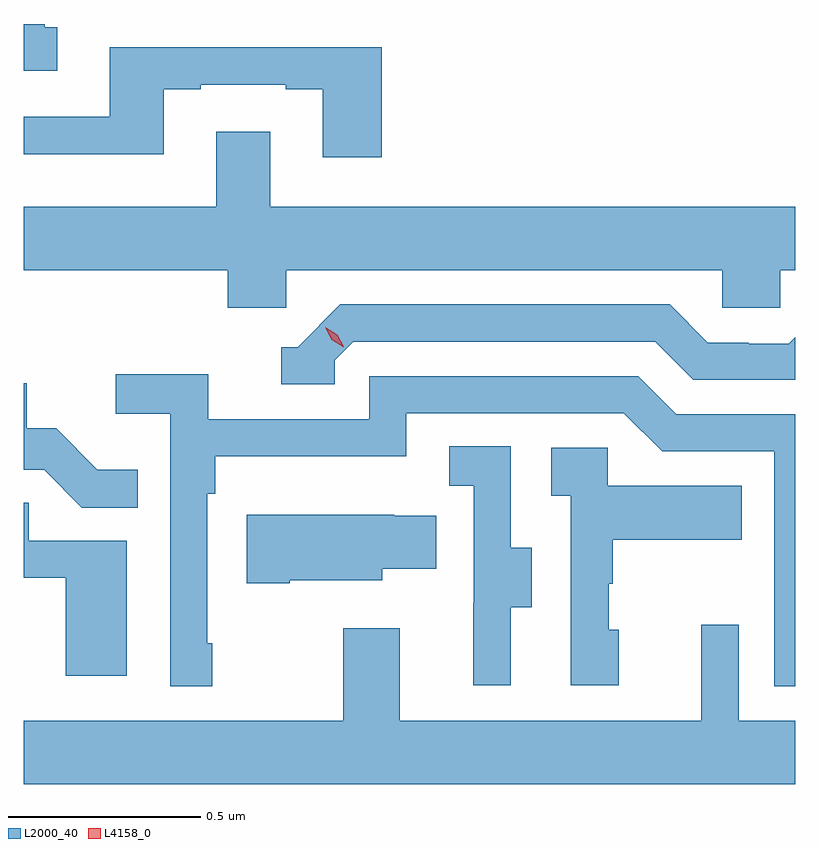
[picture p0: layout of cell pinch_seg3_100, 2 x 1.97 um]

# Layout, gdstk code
import gdstk
lib = gdstk.Library(unit=1e-6, precision=1e-09)
def P(c, l, *ps):  # polygons
    for p in ps: c.add(gdstk.Polygon(p, *l))
L2000_40 = (2000, 40)
L4158_0 = (4158, 0)

pinch_seg3_100 = lib.new_cell('pinch_seg3_100')
P(pinch_seg3_100, L2000_40, [(1080.169,725.522),(1080.136,725.522),(1080.136,725.53),(1080.082,725.53),(1080.082,725.409),(1080.169,725.409)],
  [(1081.01,725.47),(1080.305,725.47),(1080.305,725.289),(1080.082,725.289),(1080.082,725.192),(1080.445,725.192),(1080.445,725.361),(1080.541,725.361),(1080.541,725.373),(1080.761,725.373),(1080.761,725.361),(1080.857,725.361),(1080.857,725.184),(1081.01,725.184)],
  [(1080.611,724.794),(1080.762,724.794),(1080.762,724.892),(1081.893,724.892),(1081.893,724.794),(1082.043,724.794),(1082.043,724.892),(1082.082,724.892),(1082.082,725.056),(1080.721,725.056),(1080.721,725.251),(1080.581,725.251),(1080.581,725.056),(1080.082,725.056),(1080.082,724.892),(1080.611,724.892)],
  [(1080.888,724.659),(1080.936,724.707),(1081.719,724.707),(1081.818,724.608),(1082.082,724.608),(1082.082,724.718),(1082.065,724.701),(1081.962,724.701),(1081.962,724.704),(1081.855,724.704),(1081.756,724.803),(1080.903,724.803),(1080.792,724.692),(1080.749,724.692),(1080.749,724.596),(1080.888,724.596)],
  [(1080.571,723.925),(1080.558,723.925),(1080.558,724.313),(1080.578,724.313),(1080.578,724.409),(1081.074,724.409),(1081.074,724.521),(1081.638,724.521),(1081.737,724.422),(1082.028,724.422),(1082.028,723.813),(1082.082,723.813),(1082.082,724.518),(1081.774,724.518),(1081.675,724.617),(1080.978,724.617),(1080.978,724.506),(1080.56,724.506),(1080.56,724.622),(1080.321,724.622),(1080.321,724.52),(1080.462,724.52),(1080.462,723.813),(1080.571,723.813)],
  [(1080.377,724.375),(1080.273,724.375),(1080.166,724.482),(1080.09,724.482),(1080.09,724.599),(1080.082,724.599),(1080.082,724.374),(1080.135,724.374),(1080.233,724.276),(1080.377,724.276)],
  [(1081.345,724.018),(1081.399,724.018),(1081.399,724.173),(1081.344,724.173),(1081.344,724.436),(1081.185,724.436),(1081.185,724.333),(1081.248,724.333),(1081.248,724.029),(1081.247,724.029),(1081.247,723.816),(1081.345,723.816)],
  [(1081.624,723.96),(1081.599,723.96),(1081.599,724.079),(1081.609,724.079),(1081.609,724.193),(1081.943,724.193),(1081.943,724.333),(1081.596,724.333),(1081.596,724.431),(1081.449,724.431),(1081.449,724.307),(1081.5,724.307),(1081.5,723.816),(1081.624,723.816)],
  [(1080.349,724.191),(1080.095,724.191),(1080.095,724.289),(1080.082,724.289),(1080.082,724.095),(1080.191,724.095),(1080.191,723.84),(1080.349,723.84)],
  [(1080.772,724.088),(1081.012,724.088),(1081.012,724.118),(1081.151,724.118),(1081.151,724.255),(1081.043,724.255),(1081.043,724.258),(1080.66,724.258),(1080.66,724.081),(1080.772,724.081)],
  [(1082.082,723.724),(1081.935,723.724),(1081.935,723.973),(1081.838,723.973),(1081.838,723.724),(1081.057,723.724),(1081.057,723.964),(1080.91,723.964),(1080.91,723.724),(1080.082,723.724),(1080.082,723.56),(1082.082,723.56)])
P(pinch_seg3_100, L4158_0, [(1080.911,724.692),(1080.88,724.712),(1080.864,724.744),(1080.864,724.744),(1080.864,724.744),(1080.895,724.725),(1080.912,724.693),(1080.912,724.692)])

lib.write_gds('pinch_seg3_100.gds')
